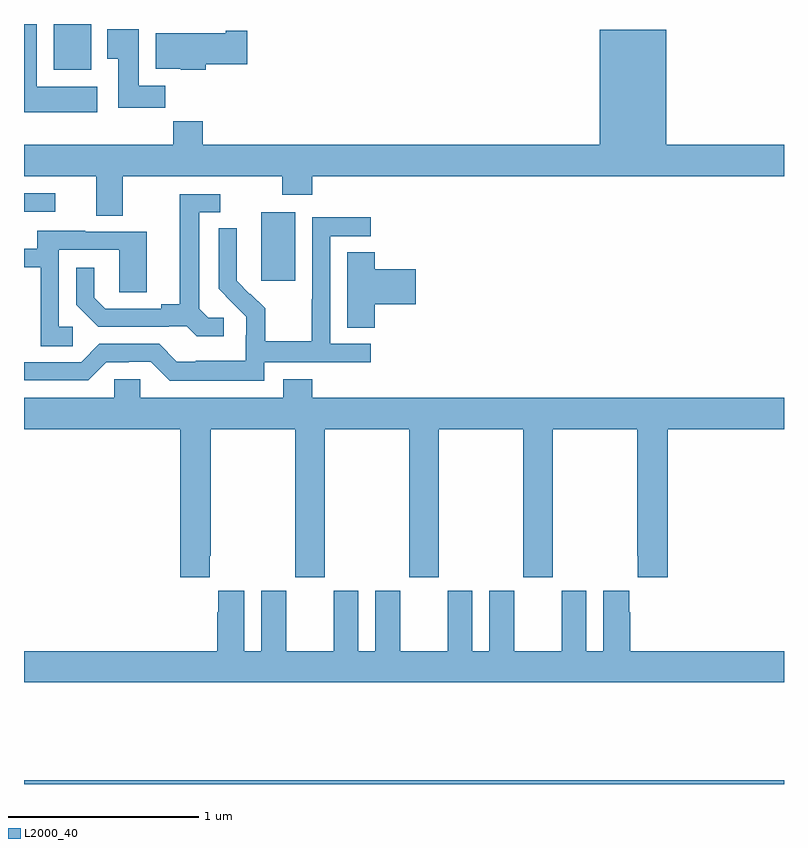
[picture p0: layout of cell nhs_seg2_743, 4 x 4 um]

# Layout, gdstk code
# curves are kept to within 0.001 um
import gdstk
lib = gdstk.Library(unit=1e-6, precision=1e-09)
def R(c, l, rs):  # rectangles x0, y0, x1, y1
    for r in rs: c.add(gdstk.rectangle(r[:2], r[2:], *l))
def P(c, l, *ps):  # polygons
    for p in ps: c.add(gdstk.Polygon(p, *l))
L2000_40 = (2000, 40)

nhs_seg2_743 = lib.new_cell('nhs_seg2_743')
R(nhs_seg2_743, L2000_40, [(149,613.8,153,613.82), (150.248,616.449,150.427,616.81), (149,616.812,149.164,616.908), (149.156,617.558,149.353,617.8)])
P(nhs_seg2_743, L2000_40, [(149.386,617.47),(149.068,617.47),(149.068,617.8),(149,617.8),(149,617.336),(149.386,617.336)],
  [(149.744,617.476),(149.605,617.476),(149.605,617.773),(149.438,617.773),(149.438,617.617),(149.495,617.617),(149.495,617.358),(149.744,617.358)],
  [(149.521,617),(150.358,617),(150.358,616.901),(150.518,616.901),(150.518,617),(153,617),(153,617.164),(152.38,617.164),(152.38,617.77),(152.03,617.77),(152.03,617.164),(149.942,617.164),(149.942,617.288),(149.785,617.288),(149.785,617.164),(149,617.164),(149,617),(149.381,617),(149.381,616.792),(149.521,616.792)],
  [(149.957,617.587),(150.175,617.587),(150.175,617.765),(150.062,617.765),(150.062,617.752),(149.693,617.752),(149.693,617.564),(149.826,617.564),(149.826,617.558),(149.957,617.558)],
  [(150.052,616.254),(149.97,616.254),(149.923,616.301),(149.923,616.809),(150.034,616.809),(150.034,616.905),(149.819,616.905),(149.819,616.325),(149.723,616.325),(149.723,616.302),(149.428,616.302),(149.371,616.359),(149.371,616.516),(149.274,616.516),(149.274,616.322),(149.39,616.206),(149.762,616.206),(149.762,616.209),(149.856,616.209),(149.908,616.157),(150.052,616.157)],
  [(150.264,616.02),(150.826,616.02),(150.826,616.116),(150.612,616.116),(150.612,616.683),(150.826,616.683),(150.826,616.782),(150.516,616.782),(150.516,616.352),(150.514,616.352),(150.514,616.129),(150.269,616.129),(150.269,616.303),(150.192,616.38),(150.189,616.377),(150.119,616.448),(150.12,616.724),(150.024,616.724),(150.024,616.406),(150.17,616.258),(150.17,616.161),(150.168,616.161),(150.168,616.027),(149.905,616.027),(149.905,616.023),(149.805,616.023),(149.712,616.116),(149.397,616.116),(149.301,616.02),(149,616.02),(149,615.924),(149.337,615.924),(149.433,616.02),(149.552,616.02),(149.552,616.023),(149.667,616.023),(149.767,615.923),(150.264,615.923)],
  [(149.257,616.206),(149.184,616.206),(149.184,616.611),(149.502,616.611),(149.502,616.387),(149.647,616.387),(149.647,616.707),(149.323,616.707),(149.323,616.711),(149.069,616.711),(149.069,616.617),(149,616.617),(149,616.521),(149.088,616.521),(149.088,616.105),(149.257,616.105)],
  [(150.845,616.325),(151.063,616.325),(151.063,616.508),(150.845,616.508),(150.845,616.598),(150.701,616.598),(150.701,616.201),(150.845,616.201)],
  [(149.977,615.001),(149.982,615.001),(149.982,615.668),(150.427,615.668),(150.427,614.889),(150.582,614.889),(150.582,615.668),(151.027,615.668),(151.027,614.889),(151.182,614.889),(151.182,615.668),(151.627,615.668),(151.627,614.889),(151.782,614.889),(151.782,615.668),(152.227,615.668),(152.227,615.001),(152.231,615.001),(152.231,614.889),(152.387,614.889),(152.387,615.668),(153,615.668),(153,615.832),(150.518,615.832),(150.518,615.931),(150.365,615.931),(150.365,615.832),(149.613,615.832),(149.613,615.93),(149.475,615.93),(149.475,615.832),(149,615.832),(149,615.668),(149.822,615.668),(149.822,614.889),(149.977,614.889)],
  [(151.229,614.818),(151.229,614.5),(150.979,614.5),(150.979,614.818),(150.848,614.818),(150.848,614.5),(150.76,614.5),(150.76,614.818),(150.629,614.818),(150.629,614.5),(150.379,614.5),(150.379,614.818),(150.248,614.818),(150.248,614.5),(150.16,614.5),(150.16,614.818),(150.023,614.818),(150.023,614.705),(150.017,614.705),(150.017,614.5),(149,614.5),(149,614.336),(153,614.336),(153,614.5),(152.192,614.5),(152.192,614.705),(152.185,614.705),(152.185,614.818),(152.048,614.818),(152.048,614.5),(151.96,614.5),(151.96,614.818),(151.829,614.818),(151.829,614.5),(151.579,614.5),(151.579,614.818),(151.448,614.818),(151.448,614.5),(151.36,614.5),(151.36,614.818)])

lib.write_gds('nhs_seg2_743.gds')
